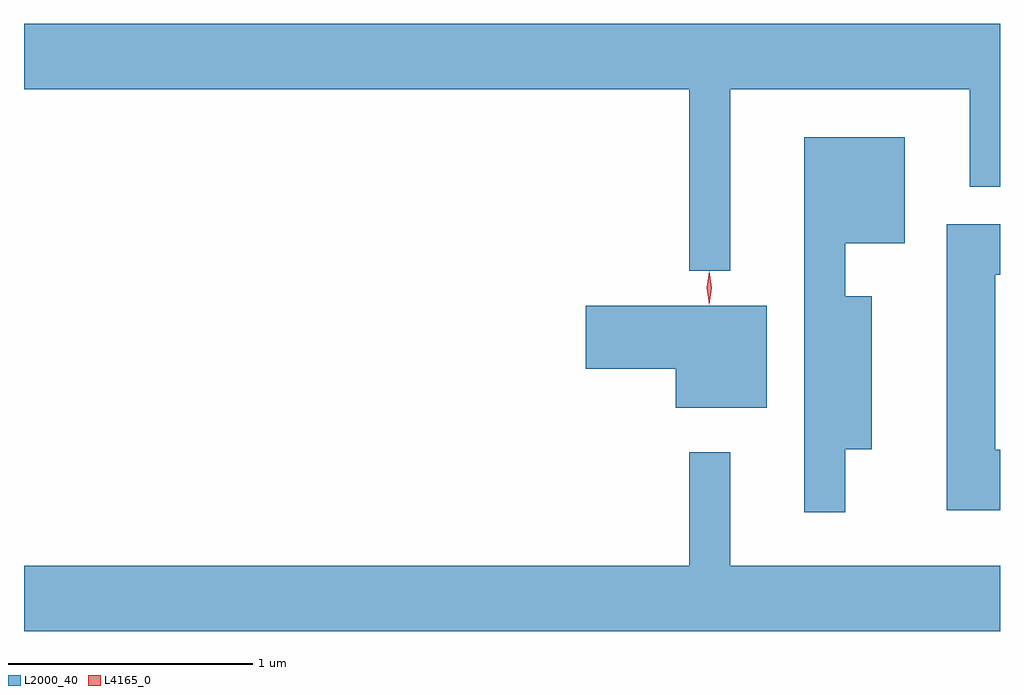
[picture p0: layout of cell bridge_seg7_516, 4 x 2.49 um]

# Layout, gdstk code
import gdstk
lib = gdstk.Library(unit=1e-6, precision=1e-09)
def P(c, l, *ps):  # polygons
    for p in ps: c.add(gdstk.Polygon(p, *l))
L2000_40 = (2000, 40)
L4165_0 = (4165, 0)

bridge_seg7_516 = lib.new_cell('bridge_seg7_516')
P(bridge_seg7_516, L2000_40, [(891.879,1749.836),(892.861,1749.836),(892.861,1749.436),(892.984,1749.436),(892.984,1750.104),(888.984,1750.104),(888.984,1749.836),(891.711,1749.836),(891.711,1749.093),(891.879,1749.093)],
  [(892.349,1748.361),(892.459,1748.361),(892.459,1748.989),(892.349,1748.989),(892.349,1749.206),(892.594,1749.206),(892.594,1749.639),(892.181,1749.639),(892.181,1748.103),(892.349,1748.103)],
  [(892.984,1748.359),(892.964,1748.359),(892.964,1749.076),(892.984,1749.076),(892.984,1749.284),(892.766,1749.284),(892.766,1748.111),(892.984,1748.111)],
  [(892.029,1748.949),(891.286,1748.949),(891.286,1748.691),(891.656,1748.691),(891.656,1748.531),(892.029,1748.531)],
  [(892.984,1747.884),(891.879,1747.884),(891.879,1748.348),(891.711,1748.348),(891.711,1747.884),(888.984,1747.884),(888.984,1747.616),(892.984,1747.616)])
P(bridge_seg7_516, L4165_0, [(891.792,1748.954),(891.792,1748.954),(891.782,1749.022),(891.792,1749.09),(891.792,1749.09),(891.793,1749.09),(891.802,1749.022),(891.793,1748.954)],
  [(891.792,1748.96),(891.792,1748.96),(891.782,1749.023),(891.792,1749.086),(891.792,1749.087),(891.793,1749.086),(891.802,1749.023),(891.793,1748.96)])

lib.write_gds('bridge_seg7_516.gds')
